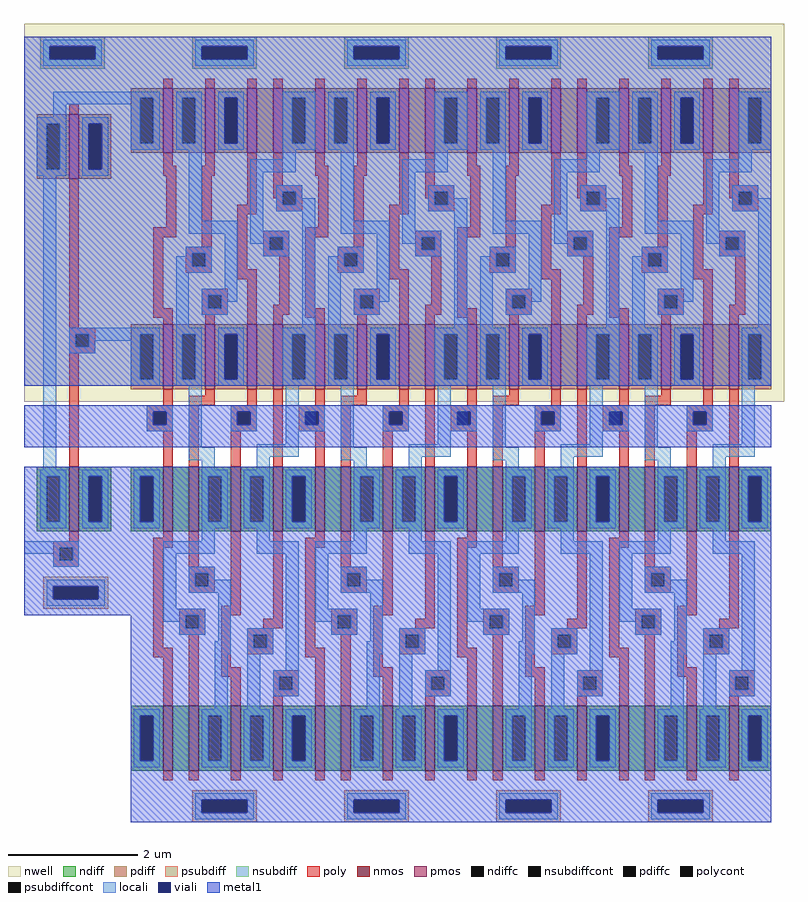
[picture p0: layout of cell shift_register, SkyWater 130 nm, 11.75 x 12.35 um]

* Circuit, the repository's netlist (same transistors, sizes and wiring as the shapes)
* SPICE3 file created from shift_register.ext - technology: sky130A

.subckt dff_4_wide_ports d ~d q ~q phi vdd gnd
X0 a_50_1530# phi d vdd sky130_fd_pr__pfet_01v8 ad=5e+11p pd=3e+06u as=5e+11p ps=3e+06u w=1e+06u l=150000u
X1 a_50_350# phi gnd gnd sky130_fd_pr__nfet_01v8 ad=2.5e+11p pd=2.5e+06u as=2e+12p ps=1.2e+07u w=1e+06u l=150000u
X2 ~q q a_310_2260# vdd sky130_fd_pr__pfet_01v8 ad=5e+11p pd=3e+06u as=2.5e+11p ps=2.5e+06u w=1e+06u l=150000u
X3 vdd a_50_1530# a_50_2260# vdd sky130_fd_pr__pfet_01v8 ad=1e+12p pd=6e+06u as=5e+11p ps=3e+06u w=1e+06u l=150000u
X4 q phi a_50_1530# gnd sky130_fd_pr__nfet_01v8 ad=5e+11p pd=3e+06u as=5e+11p ps=3e+06u w=1e+06u l=150000u
X5 ~q phi a_50_2260# gnd sky130_fd_pr__nfet_01v8 ad=5e+11p pd=3e+06u as=5e+11p ps=3e+06u w=1e+06u l=150000u
X6 q ~q a_310_1530# vdd sky130_fd_pr__pfet_01v8 ad=5e+11p pd=3e+06u as=2.5e+11p ps=2.5e+06u w=1e+06u l=150000u
X7 vdd a_50_2260# a_50_1530# vdd sky130_fd_pr__pfet_01v8 ad=0p pd=0u as=0p ps=0u w=1e+06u l=150000u
X8 gnd q ~q gnd sky130_fd_pr__nfet_01v8 ad=0p pd=0u as=0p ps=0u w=1e+06u l=150000u
X9 a_50_1090# phi gnd gnd sky130_fd_pr__nfet_01v8 ad=2.5e+11p pd=2.5e+06u as=0p ps=0u w=1e+06u l=150000u
X10 a_310_2260# phi vdd vdd sky130_fd_pr__pfet_01v8 ad=0p pd=0u as=0p ps=0u w=1e+06u l=150000u
X11 a_50_1530# a_50_2260# a_50_1090# gnd sky130_fd_pr__nfet_01v8 ad=0p pd=0u as=0p ps=0u w=1e+06u l=150000u
X12 gnd ~q q gnd sky130_fd_pr__nfet_01v8 ad=0p pd=0u as=0p ps=0u w=1e+06u l=150000u
X13 a_310_1530# phi vdd vdd sky130_fd_pr__pfet_01v8 ad=0p pd=0u as=0p ps=0u w=1e+06u l=150000u
X14 a_50_2260# phi ~d vdd sky130_fd_pr__pfet_01v8 ad=0p pd=0u as=5e+11p ps=3e+06u w=1e+06u l=150000u
X15 a_50_2260# a_50_1530# a_50_350# gnd sky130_fd_pr__nfet_01v8 ad=0p pd=0u as=0p ps=0u w=1e+06u l=150000u
.ends

.subckt inverter phi ~d gnd d vdd
X0 gnd d ~d gnd sky130_fd_pr__nfet_01v8 ad=5e+11p pd=3e+06u as=5e+11p ps=3e+06u w=1e+06u l=150000u
X1 vdd d ~d vdd sky130_fd_pr__pfet_01v8 ad=5e+11p pd=3e+06u as=5e+11p ps=3e+06u w=1e+06u l=150000u
.ends


* Top level circuit shift_register

Xdff_4_wide_ports_0 inverter_0/d inverter_0/~d inverter_0/phi dff_4_wide_ports_1/~d
+ inverter_0/phi inverter_0/vdd VSUBS dff_4_wide_ports
Xinverter_0 inverter_0/phi inverter_0/~d VSUBS inverter_0/d inverter_0/vdd inverter
Xdff_4_wide_ports_1 inverter_0/phi dff_4_wide_ports_1/~d inverter_0/phi dff_4_wide_ports_2/~d
+ inverter_0/phi inverter_0/vdd VSUBS dff_4_wide_ports
Xdff_4_wide_ports_2 inverter_0/phi dff_4_wide_ports_2/~d inverter_0/phi dff_4_wide_ports_3/~d
+ inverter_0/phi inverter_0/vdd VSUBS dff_4_wide_ports
Xdff_4_wide_ports_3 inverter_0/phi dff_4_wide_ports_3/~d dff_4_wide_ports_3/q dff_4_wide_ports_3/~q
+ inverter_0/phi inverter_0/vdd VSUBS dff_4_wide_ports
.end

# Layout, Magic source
magic
tech sky130A
use inverter_ports  inverter_ports_0
transform 1 0 35 0 1 365
box -215 -55 -50 860
use dff_4_wide_ports  dff_4_wide_ports_3
transform 1 0 730 0 1 -105
box -60 95 265 1330
use dff_4_wide_ports  dff_4_wide_ports_2
transform 1 0 495 0 1 -105
box -60 95 265 1330
use dff_4_wide_ports  dff_4_wide_ports_1
transform 1 0 260 0 1 -105
box -60 95 265 1330
use dff_4_wide_ports  dff_4_wide_ports_0
transform 1 0 25 0 1 -105
box -60 95 265 1330
<< end >>

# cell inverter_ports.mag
magic
tech sky130A
<< nwell >>
rect -215 275 -50 860
<< nmos >>
rect -145 75 -130 175
<< pmos >>
rect -145 620 -130 720
<< ndiff >>
rect -195 160 -145 175
rect -195 90 -180 160
rect -160 90 -145 160
rect -195 75 -145 90
rect -130 160 -80 175
rect -130 90 -115 160
rect -95 90 -80 160
rect -130 75 -80 90
<< pdiff >>
rect -195 705 -145 720
rect -195 635 -180 705
rect -160 635 -145 705
rect -195 620 -145 635
rect -130 705 -80 720
rect -130 635 -115 705
rect -95 635 -80 705
rect -130 620 -80 635
<< ndiffc >>
rect -180 90 -160 160
rect -115 90 -95 160
<< pdiffc >>
rect -180 635 -160 705
rect -115 635 -95 705
<< psubdiff >>
rect -185 -10 -85 5
rect -185 -30 -170 -10
rect -100 -30 -85 -10
rect -185 -45 -85 -30
<< nsubdiff >>
rect -190 825 -90 840
rect -190 805 -175 825
rect -105 805 -90 825
rect -190 790 -90 805
<< psubdiffcont >>
rect -170 -30 -100 -10
<< nsubdiffcont >>
rect -175 805 -105 825
<< poly >>
rect -145 720 -130 735
rect -145 390 -130 620
rect -145 380 -105 390
rect -145 360 -135 380
rect -115 360 -105 380
rect -145 350 -105 360
rect -145 175 -130 350
rect -145 60 -130 75
rect -170 50 -130 60
rect -170 30 -160 50
rect -140 30 -130 50
rect -170 20 -130 30
<< polycont >>
rect -135 360 -115 380
rect -160 30 -140 50
<< locali >>
rect -185 825 -95 835
rect -185 805 -175 825
rect -105 805 -95 825
rect -185 795 -95 805
rect -170 735 -50 755
rect -170 715 -150 735
rect -195 705 -150 715
rect -195 635 -180 705
rect -160 635 -150 705
rect -195 625 -150 635
rect -125 705 -85 715
rect -125 635 -115 705
rect -95 635 -85 705
rect -125 625 -85 635
rect -185 170 -165 625
rect -145 380 -50 390
rect -145 360 -135 380
rect -115 370 -50 380
rect -115 360 -105 370
rect -145 350 -105 360
rect -190 160 -150 170
rect -190 90 -180 160
rect -160 90 -150 160
rect -190 80 -150 90
rect -125 160 -85 170
rect -125 90 -115 160
rect -95 90 -85 160
rect -125 80 -85 90
rect -215 50 -130 60
rect -215 40 -160 50
rect -170 30 -160 40
rect -140 30 -130 50
rect -170 20 -130 30
rect -180 -10 -90 0
rect -180 -30 -170 -10
rect -100 -30 -90 -10
rect -180 -40 -90 -30
<< viali >>
rect -175 805 -105 825
rect -115 635 -95 705
rect -115 90 -95 160
rect -170 -30 -100 -10
<< metal1 >>
rect -215 825 -50 840
rect -215 805 -175 825
rect -105 805 -50 825
rect -215 705 -50 805
rect -215 635 -115 705
rect -95 635 -50 705
rect -215 300 -50 635
rect -215 205 -50 270
rect -215 160 -50 175
rect -215 90 -115 160
rect -95 90 -50 160
rect -215 -10 -50 90
rect -215 -30 -170 -10
rect -100 -30 -50 -10
rect -215 -55 -50 -30
<< labels >>
rlabel locali -215 50 -215 50 7 d
port 1 w
rlabel metal1 -215 -20 -215 -20 7 gnd
port 4 w
rlabel metal1 -215 240 -215 240 7 phi
port 2 w
rlabel metal1 -215 815 -215 815 7 vdd
port 3 w
<< end >>

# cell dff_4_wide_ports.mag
magic
tech sky130A
<< nwell >>
rect -60 745 265 1330
<< nmos >>
rect 10 545 25 645
rect 50 545 65 645
rect 115 545 130 645
rect 180 545 195 645
rect 10 175 25 275
rect 50 175 65 275
rect 115 175 130 275
rect 180 175 195 275
<< pmos >>
rect 10 1130 25 1230
rect 75 1130 90 1230
rect 140 1130 155 1230
rect 180 1130 195 1230
rect 10 765 25 865
rect 75 765 90 865
rect 140 765 155 865
rect 180 765 195 865
<< ndiff >>
rect -40 630 10 645
rect -40 560 -25 630
rect -5 560 10 630
rect -40 545 10 560
rect 25 545 50 645
rect 65 630 115 645
rect 65 560 80 630
rect 100 560 115 630
rect 65 545 115 560
rect 130 630 180 645
rect 130 560 145 630
rect 165 560 180 630
rect 130 545 180 560
rect 195 630 245 645
rect 195 560 210 630
rect 230 560 245 630
rect 195 545 245 560
rect -40 260 10 275
rect -40 190 -25 260
rect -5 190 10 260
rect -40 175 10 190
rect 25 175 50 275
rect 65 260 115 275
rect 65 190 80 260
rect 100 190 115 260
rect 65 175 115 190
rect 130 260 180 275
rect 130 190 145 260
rect 165 190 180 260
rect 130 175 180 190
rect 195 260 245 275
rect 195 190 210 260
rect 230 190 245 260
rect 195 175 245 190
<< pdiff >>
rect -40 1215 10 1230
rect -40 1145 -25 1215
rect -5 1145 10 1215
rect -40 1130 10 1145
rect 25 1215 75 1230
rect 25 1145 40 1215
rect 60 1145 75 1215
rect 25 1130 75 1145
rect 90 1215 140 1230
rect 90 1145 105 1215
rect 125 1145 140 1215
rect 90 1130 140 1145
rect 155 1130 180 1230
rect 195 1215 245 1230
rect 195 1145 210 1215
rect 230 1145 245 1215
rect 195 1130 245 1145
rect -40 850 10 865
rect -40 780 -25 850
rect -5 780 10 850
rect -40 765 10 780
rect 25 850 75 865
rect 25 780 40 850
rect 60 780 75 850
rect 25 765 75 780
rect 90 850 140 865
rect 90 780 105 850
rect 125 780 140 850
rect 90 765 140 780
rect 155 765 180 865
rect 195 850 245 865
rect 195 780 210 850
rect 230 780 245 850
rect 195 765 245 780
<< ndiffc >>
rect -25 560 -5 630
rect 80 560 100 630
rect 145 560 165 630
rect 210 560 230 630
rect -25 190 -5 260
rect 80 190 100 260
rect 145 190 165 260
rect 210 190 230 260
<< pdiffc >>
rect -25 1145 -5 1215
rect 40 1145 60 1215
rect 105 1145 125 1215
rect 210 1145 230 1215
rect -25 780 -5 850
rect 40 780 60 850
rect 105 780 125 850
rect 210 780 230 850
<< psubdiff >>
rect 55 130 155 145
rect 55 110 70 130
rect 140 110 155 130
rect 55 95 155 110
<< nsubdiff >>
rect 55 1295 155 1310
rect 55 1275 70 1295
rect 140 1275 155 1295
rect 55 1260 155 1275
<< psubdiffcont >>
rect 70 110 140 130
<< nsubdiffcont >>
rect 70 1275 140 1295
<< poly >>
rect 10 1230 25 1245
rect 75 1230 90 1245
rect 140 1230 155 1245
rect 180 1230 195 1245
rect 10 1110 25 1130
rect 75 1110 90 1130
rect 10 1095 30 1110
rect 15 1015 30 1095
rect -5 1000 30 1015
rect 70 1095 90 1110
rect -5 890 10 1000
rect 70 985 85 1095
rect 140 1050 155 1130
rect 180 1080 195 1130
rect 180 1070 225 1080
rect 180 1060 195 1070
rect 45 975 85 985
rect 45 955 55 975
rect 75 955 85 975
rect 45 945 85 955
rect 125 1035 155 1050
rect 185 1050 195 1060
rect 215 1050 225 1070
rect 185 1040 225 1050
rect 125 950 140 1035
rect 165 1000 205 1010
rect 165 980 175 1000
rect 195 980 205 1000
rect 165 970 205 980
rect 125 935 155 950
rect 70 910 110 920
rect 70 890 80 910
rect 100 890 110 910
rect -5 875 25 890
rect 70 880 110 890
rect 10 865 25 875
rect 75 865 90 880
rect 140 865 155 935
rect 190 895 205 970
rect 180 880 205 895
rect 180 865 195 880
rect 10 740 25 765
rect 75 755 90 765
rect -15 730 25 740
rect -15 710 -5 730
rect 15 710 25 730
rect -15 700 25 710
rect 10 645 25 700
rect 50 740 90 755
rect 140 740 155 765
rect 50 645 65 740
rect 115 730 155 740
rect 115 710 125 730
rect 145 710 155 730
rect 115 700 155 710
rect 115 645 130 700
rect 180 645 195 765
rect 10 535 25 545
rect -5 520 25 535
rect -5 365 10 520
rect 50 490 65 545
rect 50 480 90 490
rect 50 460 60 480
rect 80 460 90 480
rect 50 450 90 460
rect 115 430 130 545
rect 35 415 75 425
rect 35 395 45 415
rect 65 395 75 415
rect 35 385 75 395
rect 100 415 130 430
rect -5 350 25 365
rect 10 275 25 350
rect 50 275 65 385
rect 100 335 115 415
rect 180 410 195 545
rect 165 395 195 410
rect 140 385 180 395
rect 140 365 150 385
rect 170 365 180 385
rect 140 355 180 365
rect 100 320 130 335
rect 115 275 130 320
rect 180 320 220 330
rect 180 300 190 320
rect 210 300 220 320
rect 180 290 220 300
rect 180 275 195 290
rect 10 160 25 175
rect 50 160 65 175
rect 115 160 130 175
rect 180 160 195 175
<< polycont >>
rect 55 955 75 975
rect 195 1050 215 1070
rect 175 980 195 1000
rect 80 890 100 910
rect -5 710 15 730
rect 125 710 145 730
rect 60 460 80 480
rect 45 395 65 415
rect 150 365 170 385
rect 190 300 210 320
<< locali >>
rect 60 1295 150 1305
rect 60 1275 70 1295
rect 140 1275 150 1295
rect 60 1265 150 1275
rect -40 1215 5 1225
rect -40 1145 -25 1215
rect -5 1145 5 1215
rect -40 1135 5 1145
rect 30 1215 70 1225
rect 30 1145 40 1215
rect 60 1145 70 1215
rect 30 1135 70 1145
rect 95 1215 135 1225
rect 95 1145 105 1215
rect 125 1145 135 1215
rect 95 1135 135 1145
rect 195 1215 245 1225
rect 195 1145 210 1215
rect 230 1145 245 1215
rect 195 1135 245 1145
rect 50 1025 70 1135
rect 195 1120 215 1135
rect 145 1100 215 1120
rect 50 1005 125 1025
rect 45 975 85 985
rect 45 970 55 975
rect 30 955 55 970
rect 75 955 85 975
rect 30 945 85 955
rect 30 860 50 945
rect 105 920 125 1005
rect 145 1010 165 1100
rect 185 1070 225 1080
rect 185 1050 195 1070
rect 215 1060 225 1070
rect 215 1050 245 1060
rect 185 1040 245 1050
rect 145 1000 205 1010
rect 145 990 175 1000
rect 165 980 175 990
rect 195 980 205 1000
rect 165 970 205 980
rect 70 910 125 920
rect 70 890 80 910
rect 100 900 125 910
rect 100 890 110 900
rect 70 880 110 890
rect 225 860 245 1040
rect -40 850 5 860
rect -40 780 -25 850
rect -5 780 5 850
rect -40 770 5 780
rect 30 850 70 860
rect 30 780 40 850
rect 60 780 70 850
rect 30 770 70 780
rect 95 850 135 860
rect 95 780 105 850
rect 125 780 135 850
rect 95 770 135 780
rect 200 850 245 860
rect 200 780 210 850
rect 230 780 245 850
rect 200 770 245 780
rect -15 730 25 740
rect -15 710 -5 730
rect 15 710 25 730
rect -15 700 25 710
rect 50 675 70 770
rect 115 730 155 740
rect 115 710 125 730
rect 145 710 155 730
rect 115 700 155 710
rect 200 680 220 770
rect 50 655 90 675
rect 70 640 90 655
rect 155 660 220 680
rect 155 640 175 660
rect -35 630 5 640
rect -35 560 -25 630
rect -5 560 5 630
rect -35 550 5 560
rect 70 630 110 640
rect 70 560 80 630
rect 100 560 110 630
rect 70 550 110 560
rect 135 630 175 640
rect 135 560 145 630
rect 165 560 175 630
rect 135 550 175 560
rect 200 630 240 640
rect 200 560 210 630
rect 230 560 240 630
rect 200 550 240 560
rect 70 530 90 550
rect 10 510 90 530
rect 155 530 175 550
rect 155 510 220 530
rect 10 425 30 510
rect 50 480 90 490
rect 50 460 60 480
rect 80 470 90 480
rect 80 460 115 470
rect 50 450 115 460
rect 10 415 75 425
rect 10 405 45 415
rect 35 395 45 405
rect 65 395 75 415
rect 35 385 75 395
rect 95 375 115 450
rect 90 355 115 375
rect 140 385 180 395
rect 140 365 150 385
rect 170 365 180 385
rect 140 355 180 365
rect 90 270 110 355
rect 140 270 160 355
rect 200 330 220 510
rect 180 320 220 330
rect 180 300 190 320
rect 210 300 220 320
rect 180 290 220 300
rect -35 260 5 270
rect -35 190 -25 260
rect -5 190 5 260
rect -35 180 5 190
rect 70 260 110 270
rect 70 190 80 260
rect 100 190 110 260
rect 70 180 110 190
rect 135 260 175 270
rect 135 190 145 260
rect 165 190 175 260
rect 135 180 175 190
rect 200 260 240 270
rect 200 190 210 260
rect 230 190 240 260
rect 200 180 240 190
rect 60 130 150 140
rect 60 110 70 130
rect 140 110 150 130
rect 60 100 150 110
<< viali >>
rect 70 1275 140 1295
rect 105 1145 125 1215
rect 105 780 125 850
rect -5 710 15 730
rect 125 710 145 730
rect -25 560 -5 630
rect 210 560 230 630
rect -25 190 -5 260
rect 210 190 230 260
rect 70 110 140 130
<< metal1 >>
rect -40 1295 245 1310
rect -40 1275 70 1295
rect 140 1275 245 1295
rect -40 1215 245 1275
rect -40 1145 105 1215
rect 125 1145 245 1215
rect -40 850 245 1145
rect -40 780 105 850
rect 125 780 245 850
rect -40 770 245 780
rect -40 730 245 740
rect -40 710 -5 730
rect 15 710 125 730
rect 145 710 245 730
rect -40 675 245 710
rect -40 630 245 645
rect -40 560 -25 630
rect -5 560 210 630
rect 230 560 245 630
rect -40 260 245 560
rect -40 190 -25 260
rect -5 190 210 260
rect 230 190 245 260
rect -40 130 245 190
rect -40 110 70 130
rect 140 110 245 130
rect -40 95 245 110
<< labels >>
rlabel locali 245 815 245 815 3 q
port 3 e
rlabel locali -40 815 -40 815 7 d
port 1 w
rlabel locali 245 1180 245 1180 3 ~q
port 4 e
rlabel locali -40 1180 -40 1180 7 ~d
port 2 w
rlabel metal1 -40 1285 -40 1285 7 vdd
port 6 w
rlabel metal1 -40 705 -40 705 7 phi
port 5 w
rlabel metal1 -40 120 -40 120 7 gnd
port 7 w
<< end >>
